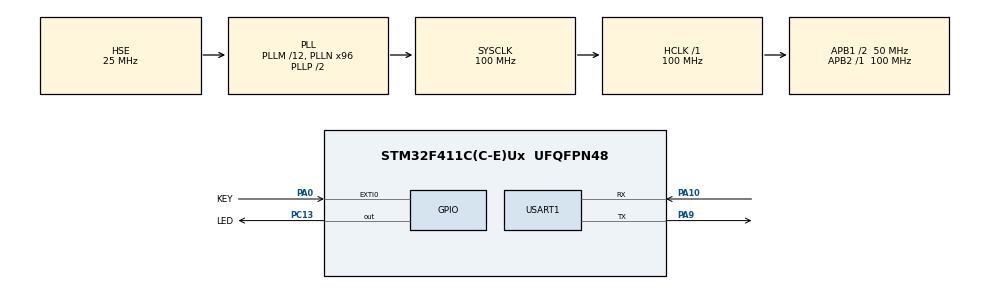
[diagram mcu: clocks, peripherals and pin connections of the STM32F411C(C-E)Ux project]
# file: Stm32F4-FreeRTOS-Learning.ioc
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FREERTOS.Tasks01=defaultTask,24,128,StartDefaultTask,Default,NULL,Dynamic,NULL,NULL
FREERTOS.Timers01=myTimer01,Callback01,osTimerOnce,Default,NULL,Dynamic,NULL
Mcu.Family=STM32F4
Mcu.Name=STM32F411C(C-E)Ux
Mcu.Package=UFQFPN48
NVIC.EXTI0_IRQn=true\:10\:0\:true\:false\:true\:true\:true\:true\:true
NVIC.PriorityGroup=NVIC_PRIORITYGROUP_4
NVIC.TIM1_BRK_TIM9_IRQn=true\:5\:0\:false\:false\:true\:true\:true\:true\:true
NVIC.TIM1_UP_TIM10_IRQn=true\:5\:0\:false\:false\:true\:false\:false\:true\:true
NVIC.TimeBase=TIM1_UP_TIM10_IRQn
NVIC.TimeBaseIP=TIM1
NVIC.USART1_IRQn=true\:5\:0\:false\:false\:true\:true\:true\:true\:true
PA0-WKUP.GPIO_Label=KEY
PA0-WKUP.GPIO_ModeDefaultEXTI=GPIO_MODE_IT_RISING_FALLING
PA0-WKUP.GPIO_PuPd=GPIO_PULLUP
PA0-WKUP.Signal=GPXTI0
PA10.Mode=Asynchronous
PA10.Signal=USART1_RX
PA13.Mode=Serial_Wire
PA13.Signal=SYS_JTMS-SWDIO
PA14.Mode=Serial_Wire
PA14.Signal=SYS_JTCK-SWCLK
PA2.Signal=S_TIM9_CH1
PA9.Mode=Asynchronous
PA9.Signal=USART1_TX
PC13-ANTI_TAMP.GPIO_Label=LED
PC13-ANTI_TAMP.GPIO_PuPd=GPIO_PULLUP
PC13-ANTI_TAMP.Signal=GPIO_Output
PC14-OSC32_IN.Mode=LSE-External-Oscillator
PC14-OSC32_IN.Signal=RCC_OSC32_IN
PC15-OSC32_OUT.Mode=LSE-External-Oscillator
PC15-OSC32_OUT.Signal=RCC_OSC32_OUT
PH0\ -\ OSC_IN.Mode=HSE-External-Oscillator
PH0\ -\ OSC_IN.Signal=RCC_OSC_IN
PH1\ -\ OSC_OUT.Mode=HSE-External-Oscillator
PH1\ -\ OSC_OUT.Signal=RCC_OSC_OUT
ProjectManager.HeapSize=0x200
ProjectManager.StackSize=0x400
ProjectManager.TargetToolchain=MDK-ARM V5.32
RCC.48MHZClocksFreq_Value=50000000
RCC.AHBFreq_Value=100000000
RCC.APB1CLKDivider=RCC_HCLK_DIV2
RCC.APB1Freq_Value=50000000
RCC.APB1TimFreq_Value=100000000
RCC.APB2Freq_Value=100000000
RCC.APB2TimFreq_Value=100000000
RCC.CortexFreq_Value=100000000
RCC.HCLKFreq_Value=100000000
RCC.HSE_VALUE=25000000
RCC.HSI_VALUE=16000000
RCC.PLLM=12
RCC.PLLN=96
RCC.PLLSourceVirtual=RCC_PLLSOURCE_HSE
RCC.SYSCLKFreq_VALUE=100000000
RCC.SYSCLKSource=RCC_SYSCLKSOURCE_PLLCLK
RCC.VCOOutputFreq_Value=200000000
SH.S_TIM9_CH1.0=TIM9_CH1
TIM9.AutoReloadPreload=TIM_AUTORELOAD_PRELOAD_ENABLE
TIM9.Period=2000-1
TIM9.Prescaler=10000-1
USART1.VirtualMode=VM_ASYNC
VP_FREERTOS_VS_CMSIS_V2.Mode=CMSIS_V2
VP_SYS_VS_tim1.Mode=TIM1
VP_TIM9_VS_ClockSourceINT.Mode=Internal
board=custom

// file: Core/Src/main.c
/* USER CODE BEGIN Header */
/**
  ******************************************************************************
  * @file           : main.c
  * @brief          : Main program body
  ******************************************************************************
  * @attention
  *
  * Copyright (c) 2026 STMicroelectronics.
  * All rights reserved.
  *
  * This software is licensed under terms that can be found in the LICENSE file
  * in the root directory of this software component.
  * If no LICENSE file comes with this software, it is provided AS-IS.
  *
  ******************************************************************************
  */
/* USER CODE END Header */
#include "main.h"
#include "cmsis_os.h"
#include "tim.h"
#include "usart.h"
#include "gpio.h"

/* USER CODE BEGIN Includes */
#include "DebugUtils.h"
/* USER CODE END Includes */

void SystemClock_Config(void);
void MX_FREERTOS_Init(void);

int main(void)
{

  /* MCU Configuration--------------------------------------------------------*/

  /* Reset of all peripherals, Initializes the Flash interface and the Systick. */
  HAL_Init();

  /* Configure the system clock */
  SystemClock_Config();

  /* Initialize all configured peripherals */
  MX_GPIO_Init();
  MX_USART1_UART_Init();
  MX_TIM9_Init();
  /* USER CODE BEGIN 2 */
//    HAL_TIM_PWM_Start(&htim9, TIM_CHANNEL_1);
		// HAL_TIM_Base_Start_IT(&htim9);
  /* USER CODE END 2 */

  /* Init scheduler */
  osKernelInitialize();  /* Call init function for freertos objects (in freertos.c) */
  MX_FREERTOS_Init();

  /* Start scheduler */
  osKernelStart();
  /* We should never get here as control is now taken by the scheduler */
  /* Infinite loop */
  while (1)
  {

  }
}

void SystemClock_Config(void)
{
  RCC_OscInitTypeDef RCC_OscInitStruct = {0};
  RCC_ClkInitTypeDef RCC_ClkInitStruct = {0};

  /** Configure the main internal regulator output voltage
  */
  __HAL_RCC_PWR_CLK_ENABLE();
  __HAL_PWR_VOLTAGESCALING_CONFIG(PWR_REGULATOR_VOLTAGE_SCALE1);

  /** Initializes the RCC Oscillators according to the specified parameters
  * in the RCC_OscInitTypeDef structure.
  */
  RCC_OscInitStruct.OscillatorType = RCC_OSCILLATORTYPE_HSE;
  RCC_OscInitStruct.HSEState = RCC_HSE_ON;
  RCC_OscInitStruct.PLL.PLLState = RCC_PLL_ON;
  RCC_OscInitStruct.PLL.PLLSource = RCC_PLLSOURCE_HSE;
  RCC_OscInitStruct.PLL.PLLM = 12;
  RCC_OscInitStruct.PLL.PLLN = 96;
  RCC_OscInitStruct.PLL.PLLP = RCC_PLLP_DIV2;
  RCC_OscInitStruct.PLL.PLLQ = 4;
  if (HAL_RCC_OscConfig(&RCC_OscInitStruct) != HAL_OK)
  {
    Error_Handler();
  }

  /** Initializes the CPU, AHB and APB buses clocks
  */
  RCC_ClkInitStruct.ClockType = RCC_CLOCKTYPE_HCLK|RCC_CLOCKTYPE_SYSCLK
                              |RCC_CLOCKTYPE_PCLK1|RCC_CLOCKTYPE_PCLK2;
  RCC_ClkInitStruct.SYSCLKSource = RCC_SYSCLKSOURCE_PLLCLK;
  RCC_ClkInitStruct.AHBCLKDivider = RCC_SYSCLK_DIV1;
  RCC_ClkInitStruct.APB1CLKDivider = RCC_HCLK_DIV2;
  RCC_ClkInitStruct.APB2CLKDivider = RCC_HCLK_DIV1;

  if (HAL_RCC_ClockConfig(&RCC_ClkInitStruct, FLASH_LATENCY_3) != HAL_OK)
  {
    Error_Handler();
  }
}

void HAL_TIM_PeriodElapsedCallback(TIM_HandleTypeDef *htim)
{
  if (htim->Instance == TIM1) {
    HAL_IncTick();
  }
}

void Error_Handler(void)
{
  __disable_irq();
  while (1)
  {
  }
}

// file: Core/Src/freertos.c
/* USER CODE BEGIN Header */
/**
  ******************************************************************************
  * File Name          : freertos.c
  * Description        : Code for freertos applications
  ******************************************************************************
  * @attention
  *
  * Copyright (c) 2026 STMicroelectronics.
  * All rights reserved.
  *
  * This software is licensed under terms that can be found in the LICENSE file
  * in the root directory of this software component.
  * If no LICENSE file comes with this software, it is provided AS-IS.
  *
  ******************************************************************************
  */
/* USER CODE END Header */

#include "FreeRTOS.h"
#include "task.h"
#include "main.h"
#include "cmsis_os.h"

/* USER CODE BEGIN Includes */
#include "queue.h"
#include "semphr.h"
#include <stdint.h>

#include "KeyLedStateMachine.h"
#include "DebugUtils.h"

/* USER CODE END Includes */

/* USER CODE BEGIN Variables */

// QueueHandle_t Queue_Key_Cmd = NULL ;
// QueueHandle_t Queue_Cmd_Led = NULL ;

/* USER CODE END Variables */
/* Definitions for defaultTask */
osThreadId_t defaultTaskHandle;
const osThreadAttr_t defaultTask_attributes = {
  .name = "defaultTask",
  .stack_size = 128 * 4,
  .priority = (osPriority_t) osPriorityNormal,
};
/* Definitions for myTimer01 */
osTimerId_t myTimer01Handle;
const osTimerAttr_t myTimer01_attributes = {
  .name = "myTimer01"
};

/* USER CODE BEGIN FunctionPrototypes */

void KeyTask( void  );
void LedTask( void  );
void KeyCmdTask( void );

/* USER CODE END FunctionPrototypes */

void StartDefaultTask(void *argument);
void Callback01(void *argument);

void MX_FREERTOS_Init(void); /* (MISRA C 2004 rule 8.1) */

void MX_FREERTOS_Init(void) {

  /* Create the timer(s) */
  /* creation of myTimer01 */
  myTimer01Handle = osTimerNew(Callback01, osTimerOnce, NULL, &myTimer01_attributes);

  /* USER CODE BEGIN RTOS_QUEUES */
    // communicate between led and key
    Queue_Key_Cmd = xQueueCreate( (UBaseType_t)10, sizeof(uint8_t) );
    if( NULL == Queue_Key_Cmd )
    {
        printf(" Queue_Key_Cmd queue create FAIL! \n ");
    }

    Queue_Cmd_Led = xQueueCreate( (UBaseType_t)10, sizeof(uint8_t) );
    if( NULL == Queue_Cmd_Led )
    {
        printf(" Queue_Cmd_Led queue create FAIL! \n ");
    }

    Queue_key_Cmd_Irq = xQueueCreate( (UBaseType_t)10, sizeof( IrqStatus_t *) );
    if( NULL == Queue_key_Cmd_Irq )
    {
        printf(" Queue_key_Cmd_Irq queue create FAIL! \n ");
    }

  /* USER CODE END RTOS_QUEUES */

  /* Create the thread(s) */
  /* creation of defaultTask */
  defaultTaskHandle = osThreadNew(StartDefaultTask, NULL, &defaultTask_attributes);

  /* USER CODE BEGIN RTOS_THREADS */
  /* add threads, ... */
    // create tasks
    // 按键状�?�任�????
    BaseType_t  key = xTaskCreate( KeyTask,
                                    " Key control LED ",
                                    1000,
                                    NULL,
                                    3,      // 1
                                    NULL );
    if(  pdPASS == key )
    {
        printf("KeyTask create SUCCESS! \n");
    }
    else{
        printf("KeyTask create FAIL! \n");
    }

    // LED 亮灭任务
    BaseType_t Led = xTaskCreate( LedTask,
                                    " LED flash ",
                                    1000,
                                    NULL,
                                    3,          // 2
                                    NULL );
    if(  pdPASS == Led )
    {
        printf("LedTask create SUCCESS! \n");
    }
    else{
        printf("LedTask create FAIL! \n");
    }

    // 按键 命令 任务
    BaseType_t KeyCmd = xTaskCreate( KeyCmdTask,
                                    " Key Cmd ",
                                    1000,
                                    NULL,
                                    3,
                                    NULL );
    if(  pdPASS == KeyCmd )
    {
        printf("KeyCmdTask create SUCCESS! \n");
    }
    else{
        printf("KeyCmdTask create FAIL! \n");
    }

  /* USER CODE END RTOS_THREADS */

}

void StartDefaultTask(void *argument)
{
  /* USER CODE BEGIN StartDefaultTask */
  /* Infinite loop */
  for(;;)
  {
    vTaskDelay(500);
  }
  /* USER CODE END StartDefaultTask */
}

/* Callback01 function */
void Callback01(void *argument)
{
}

/* USER CODE BEGIN Application */

/**
 * @brief Key check function
 *      按键基本的动作分解，分类出不同的按键动作和命令类型：
 *          短按、长按�?�连按多次等
 *
 * 以电平作为判断或者以状�?�作为判�????
 */
void KeyTask( void  )
{
    DEBUG_PRINT("KeyTask ! \n ") ;       // 该方式会附带详细路径和行�????

    // static IrqStatus_t last_irq_status = {0};
    // IrqStatus_t * p_last_irq_status = &last_irq_status;
    // static IrqStatus_t current_irq_status = {0};
    // IrqStatus_t * p_current_irq_status = &current_irq_status;

    // for(;;)                              // 循环放在外面，局部变量的生命周期，形参的值，每一次都是从前面重新获取�?? 实参�??直没变，�??以形参的初�?�也�??直是 0�??
    // {                                    // 或�?�传递指�??
        KeyRunable();

    // }

}

/**
 * @brief  按键命令类型，不同的按键命令执行不同的任�????
 *
 */
void KeyCmdTask( void )
{
    DEBUG_PRINT("KeyCmdTask ! \n ") ;       // 该方式会附带详细路径和行�????
    for(;;)
    {
        KeyCmdRunable();
    }
}

/**
 * @brief LED  flash function
 *
 */
void LedTask( void  )
{
    DEBUG_PRINT("LedTask ! \n ") ;       // 该方式会附带详细路径和行�????
    for(;;)
    {
        LedRunable();
    }
}

/* USER CODE END Application */
